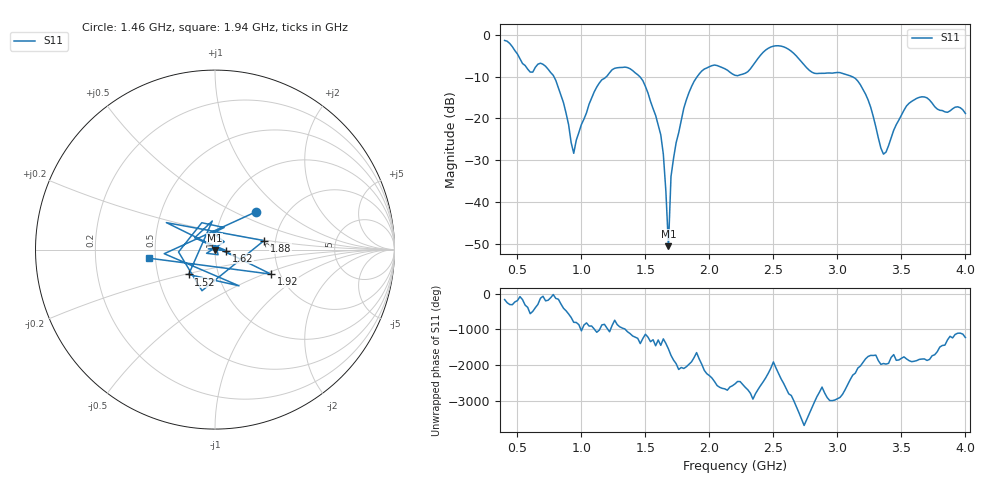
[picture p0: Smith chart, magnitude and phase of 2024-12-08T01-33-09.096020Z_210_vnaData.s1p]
!Created with skrf (http://scikit-rf.org).
# Hz S RI R 50.0
!freq ReS11 ImS11
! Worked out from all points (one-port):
!   181 points, 400 MHz to 4 GHz, reference 50 ohm
!   lowest |S11| = -50.6 dB at 1.68 GHz (marker M1), VSWR 1.01, Z = 49.9 - j0.282 ohm
!   |S11| at or under -10 dB: 785.5 MHz to 1.195 GHz (409.1 MHz wide, 41.3 % of centre); 1.457 GHz to 1.904 GHz (447.7 MHz wide, 26.6 % of centre); 3.116 GHz to end of sweep
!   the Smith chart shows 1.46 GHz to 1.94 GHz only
!   S11 on the Smith chart (normalised r, x): 1.46 GHz: 1.42, +0.66; 1.52 GHz: 0.72, -0.21; 1.62 GHz: 1.14, -0.01; 1.88 GHz: 1.74, +0.19; 1.92 GHz: 1.80, -0.56; 1.94 GHz: 0.46, -0.05
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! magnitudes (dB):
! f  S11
! 400 MHz  -1.3
! 600 MHz  -8.9
! 720 MHz  -7.5
! 860 MHz  -16.2
! 940 MHz  -28.4
! 1.12 GHz  -12.5
! 1.3 GHz  -7.8
! 1.46 GHz  -10.1
! 1.52 GHz  -13.9
! 1.62 GHz  -23.9
! 1.64 GHz  -28.5
! 1.66 GHz  -37.5
! 1.68 GHz  -50.6
! 1.7 GHz  -33.9
! 1.76 GHz  -23.4
! 1.88 GHz  -11.1
! 1.92 GHz  -9.4
! 1.94 GHz  -8.6
! 2.2 GHz  -9.7
! 2.48 GHz  -2.9
! 2.66 GHz  -4.4
! 2.82 GHz  -9.2
! 3.1 GHz  -9.8
! 3.24 GHz  -15.6
! 3.36 GHz  -28.6
! 3.56 GHz  -16.4
! 3.68 GHz  -14.9
! 4 GHz  -18.8
